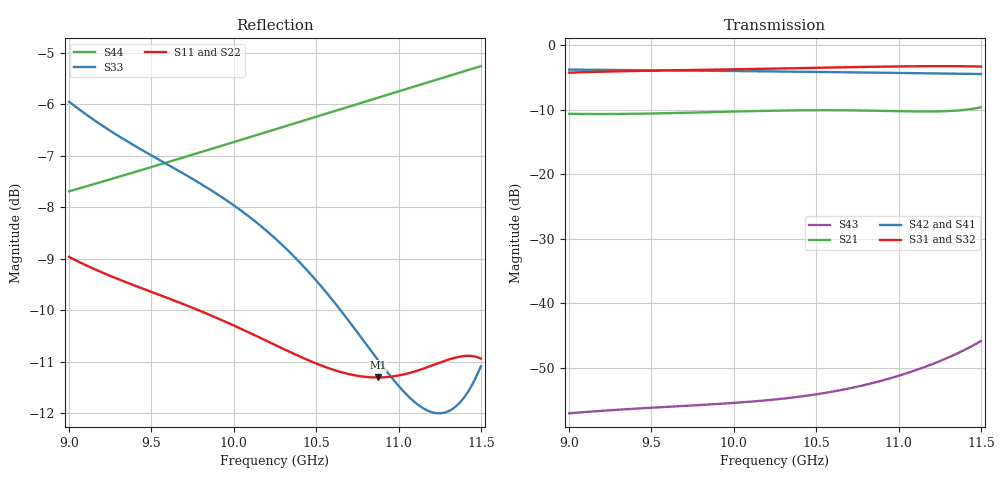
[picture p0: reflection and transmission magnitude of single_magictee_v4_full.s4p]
! Generated from PyAEDT SolutionData; AEDT ExportNetworkData workaround
# GHz S MA R 50
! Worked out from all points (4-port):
!   101 points, 9 GHz to 11.5 GHz, reference 50 ohm
!   strongest paths, dB at 9 GHz, 9.625 GHz, 10.25 GHz, 10.88 GHz, 11.5 GHz:
!     S31: -4.3, -3.9, -3.6, -3.4, -3.3
!     S32: -4.3, -3.9, -3.7, -3.4, -3.4
!     S42: -3.8, -3.9, -4.1, -4.3, -4.5
!     S41: -3.8, -4.0, -4.1, -4.3, -4.6
!     S21: -10.6, -10.5, -10.2, -10.2, -9.6
!     S43: -57.0, -56.0, -54.9, -52.1, -45.8
!   lowest |S11| = -11.3 dB at 10.88 GHz (marker M1), VSWR 1.75, Z = 29.3 + j6.23 ohm
!   |S11| at or under -10 dB: 9.784 GHz to end of sweep
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9  0.3562 -2.4  0.2935 -80.6  0.6115 -20.8  0.6427 45.4
   0.2935 -80.6  0.3533 -2.0  0.6101 -20.8  0.6456 -134.7
   0.6115 -20.8  0.6101 -20.8  0.5038 175.3  0.001408 -123.6
   0.6427 45.4  0.6456 -134.7  0.001408 -123.6  0.4124 -131.3
9.45  0.3317 -55.3  0.2944 -142.7  0.6317 -100.7  0.6359 -5.3
      0.2944 -142.7  0.3287 -54.9  0.6302 -100.7  0.6389 174.6
      0.6317 -100.7  0.6302 -100.7  0.4516 74.3  0.001542 150.3
      0.6359 -5.3  0.6389 174.6  0.001542 150.3  0.433 -178.4
9.925  0.3093 -108.4  0.3039 155.3  0.6466 178.5  0.6275 -56.7
       0.3039 155.3  0.3064 -108.0  0.645 178.5  0.6307 123.2
       0.6466 178.5  0.645 178.5  0.4073 -26.9  0.00167 64.6
       0.6275 -56.7  0.6307 123.2  0.00167 64.6  0.4565 133.2
10.425  0.284 -159.9  0.3123 91.9  0.6638 95.5  0.6174 -109.2
        0.3123 91.9  0.2811 -159.3  0.6617 95.6  0.6209 70.6
        0.6638 95.5  0.6617 95.6  0.3484 -131.1  0.001914 -19.5
        0.6174 -109.2  0.6209 70.6  0.001914 -19.5  0.4831 83.2
10.875  0.272 158.8  0.3098 37.1  0.6796 20.5  0.6067 -155.4
        0.3098 37.1  0.2693 159.6  0.6768 20.6  0.6111 24.4
        0.6796 20.5  0.6768 20.6  0.2829 129.9  0.002475 -92.5
        0.6067 -155.4  0.6111 24.4  0.002475 -92.5  0.5083 38.7
11.175  0.2783 131.4  0.306 3.1  0.686 -31.0  0.5986 174.1
        0.306 3.1  0.2752 132.6  0.6823 -30.9  0.6042 -6.1
        0.686 -31.0  0.6823 -30.9  0.2527 56.5  0.003271 -142.7
        0.5986 174.1  0.6042 -6.1  0.003271 -142.7  0.5259 9.1
11.5  0.2838 95.3  0.3296 -30.1  0.6817 -90.9  0.5883 141.4
      0.3296 -30.1  0.2787 97.2  0.6764 -90.7  0.5969 -38.9
      0.6817 -90.9  0.6764 -90.7  0.2789 -25.8  0.005106 158.0
      0.5883 141.4  0.5969 -38.9  0.005106 158.0  0.5455 -23.0
